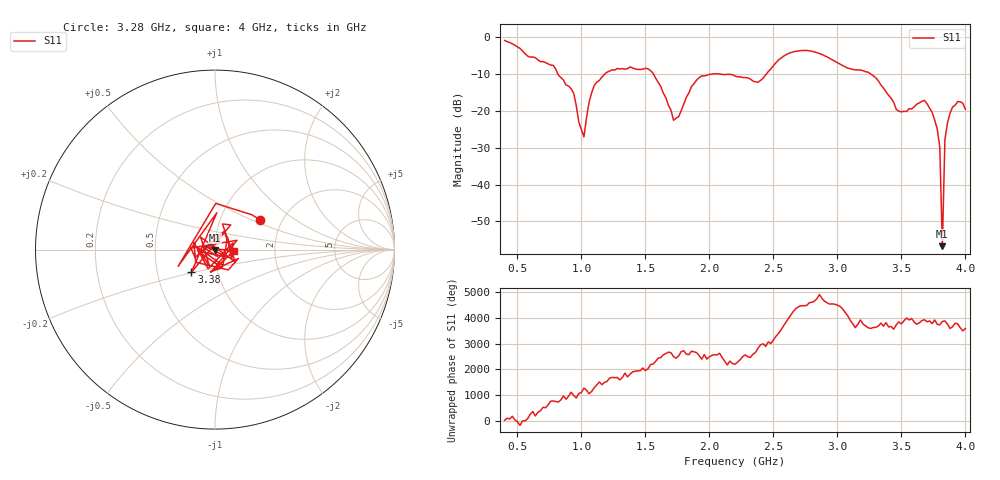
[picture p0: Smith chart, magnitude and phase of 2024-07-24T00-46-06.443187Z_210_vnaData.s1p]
!Created with skrf (http://scikit-rf.org).
# Hz S RI R 50.0
!freq ReS11 ImS11
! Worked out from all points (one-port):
!   181 points, 400 MHz to 4 GHz, reference 50 ohm
!   lowest |S11| = -56.7 dB at 3.82 GHz (marker M1), VSWR 1.00, Z = 50 - j0.146 ohm
!   |S11| at or under -10 dB: 816.7 MHz to 1.182 GHz (364.9 MHz wide, 36.5 % of centre); 1.564 GHz to 2.021 GHz (456.9 MHz wide, 25.5 % of centre); 3.263 GHz to end of sweep (the widest 3 of 4)
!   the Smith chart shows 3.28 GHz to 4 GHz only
!   S11 on the Smith chart (normalised r, x): 3.28 GHz: 1.55, +0.56; 3.38 GHz: 0.75, -0.20; 4 GHz: 1.23, -0.02
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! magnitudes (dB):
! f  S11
! 400 MHz  -0.8
! 780 MHz  -7.6
! 860 MHz  -11.6
! 940 MHz  -15.2
! 1.02 GHz  -27.0
! 1.06 GHz  -17.6
! 1.1 GHz  -13.1
! 1.3 GHz  -8.6
! 1.54 GHz  -9.0
! 1.72 GHz  -22.5
! 1.76 GHz  -21.5
! 1.92 GHz  -10.9
! 2.2 GHz  -10.5
! 2.38 GHz  -12.2
! 2.66 GHz  -3.9
! 3.1 GHz  -8.5
! 3.28 GHz  -10.4
! 3.38 GHz  -14.8
! 3.46 GHz  -19.6
! 3.56 GHz  -19.4
! 3.68 GHz  -17.1
! 3.78 GHz  -24.9
! 3.8 GHz  -29.9
! 3.82 GHz  -56.7
! 3.84 GHz  -27.8
! 3.86 GHz  -23.2
! 3.94 GHz  -17.4
! 4 GHz  -19.5
